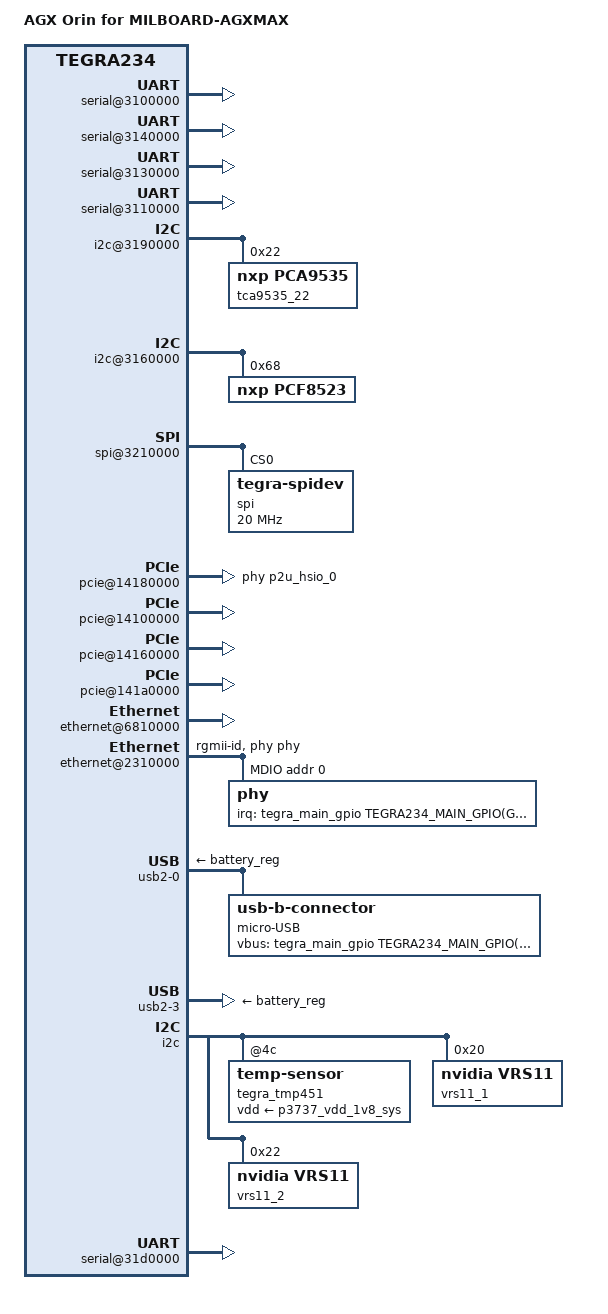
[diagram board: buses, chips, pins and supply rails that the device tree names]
/*
 * Top level DTS file for CVM:P3701-0000 and CVB:MILBOARD-AGXMAX.
 *
 * Copyright (c) 2021-2023, NVIDIA CORPORATION.  All rights reserved.
 *
 * This program is free software; you can redistribute it and/or modify
 * it under the terms of the GNU General Public License as published by
 * the Free Software Foundation; version 2 of the License.
 *
 * This program is distributed in the hope that it will be useful, but WITHOUT
 * ANY WARRANTY; without even the implied warranty of MERCHANTABILITY or
 * FITNESS FOR A PARTICULAR PURPOSE.  See the GNU General Public License for
 * more details.
 */

/dts-v1/;
#include "tegra234-p3701-0000-prod.dtsi"
#include "cvm/tegra234-p3701-0000.dtsi"
#include "cvb/tegra234-p3737-0000-a04-mgbe.dtsi"
#include "tegra234-power-tree-p3701-0000-p3737-0000.dtsi"
#include "tegra234-dcb-p3701-0000-a02-p3737-0000-a01_hdmi.dtsi"
#include <tegra234-soc/mods-simple-bus.dtsi>
//#include "cvb/tegra234-p3737-camera-modules.dtsi"
#include "cvb/tegra234-p3737-0000-camera-expansion-forecr-a00.dtsi"
#include <t234-common-cvb/tegra234-pwm.dtsi>
#include <t234-common-cvm/tegra234-cpuidle.dtsi>
#include <t234-common-cvm/tegra234-thermal.dtsi>
#include <t234-common-cvm/tegra234-thermal-cooling.dtsi>
#include <t234-common-cvm/tegra234-thermal-userspace-alert.dtsi>
#include <tegra234-soc/tegra234-soc-hwpm.dtsi>

/ {
	nvidia,dtsfilename = __FILE__;
	nvidia,dtbbuildtime = __DATE__, __TIME__;
	model = "AGX Orin for MILBOARD-AGXMAX";
	compatible = "nvidia,p3737-0000+p3701-0000", "nvidia,p3701-0000", "nvidia,tegra234", "nvidia,tegra23x";

	aliases {
		rtc2 = "/i2c@3160000/pcf8523@68";
	};

	fixed-regulators {
		p3737_vdd_3v3_pcie: regulator@105 {
			/delete-property/ regulator-boot-on;
			/delete-property/ gpio;
			/delete-property/ enable-active-low;
			regulator-always-on;
		};
		p3737_vdd_12v_pcie: regulator@114 {
			/delete-property/ regulator-boot-on;
			/delete-property/ gpio;
			/delete-property/ enable-active-low;
			regulator-always-on;
		};
	};

	serial@3100000 { // UART1
		status = "okay";
	};

	serial@3140000 { // UART2
		status = "okay";
	};

	serial@3130000 { // UART4
		status = "okay";
	};

	serial@3110000 { // UART5
		status = "okay";
	};

	i2c@c240000 {
		ucsi_ccg@8 {
			status = "disabled";
			connector@0 {
				/delete-node/ port;
			};

			connector@1 {
				/delete-node/ port;
			};
		};
	};

	i2c@3190000 {
		tca9535_22: tca9535@22 {
			compatible = "nxp,pca9535";
			reg = <0x22>;
			gpio-controller;
			#gpio-cells = <2>;
			gpio-line-names = 
			    "SERIAL_CH0.RS485/RS232#",
			    "SERIAL_CH0.TERM",
			    "SERIAL_CH1.RS485/RS232#",
			    "SERIAL_CH1.TERM",
			    "SERIAL_CH2.RS485/RS232#",
			    "SERIAL_CH2.TERM",
			    "SERIAL_CH3.RS485/RS232#",
			    "SERIAL_CH3.TERM",
			    "DIGITAL_IO_CH0",
			    "DIGITAL_IO_CH1",
			    "DIGITAL_IO_CH2",
			    "DIGITAL_IO_CH3",
			    "DIGITAL_IO_CH4",
			    "DIGITAL_IO_CH5",
			    "DIGITAL_IO_CH6",
			    "DIGITAL_IO_CH7";

			/*
			serial_default_config {
				gpio-hog;
				gpios = <0 0 1 0 2 0 3 0 4 0 5 0 6 0 7 0>;
				output-low; // for RS232
				//output-high; // for RS422
			};
			*/
		};
	};

	i2c@3160000 {
		status = "okay";

		// 0x68 - PCF8523 RTC
		pcf8523@68 {
			status = "okay";
			compatible = "nxp,pcf8523";
			reg = <0x68>;
		};

		// 0x56 - EEPROM CAT24C04WI-GT3
		// 0x6B - 2536030320001 6-AXIS IMU & TEMP SENSOR
	};

	spi@3210000 {
		status = "okay";

		spi@0 {
			status = "okay";
			compatible = "tegra-spidev";
			reg = <0x0>;
			spi-max-frequency = <20000000>;

			controller-data {
				nvidia,enable-hw-based-cs;
				nvidia,rx-clk-tap-delay = <0x10>;
				nvidia,tx-clk-tap-delay = <0x0>;
			};
		};
	};

	pcie@14180000 { // PCIe x1 (C0) - Ethernet
		status = "okay";
		phys = <&p2u_hsio_0>;
		phy-names = "p2u-0";
		nvidia,max-speed = <2>; // i210 is GEN2
	};

	pcie@14100000 { // PCIe x1 (C1) - Ethernet
		status = "okay";
		nvidia,max-speed = <2>; // i210 is GEN2
	};

	pcie@14160000 { //* PCIe x4 (C4) - M.2 Key-M
		status = "okay";
	};

	pcie@141a0000 { // PCIe x8 (C5) - M.2 Key-M
		status = "okay";
		/delete-property/ vpcie3v3-supply;
		/delete-property/ vpcie12v-supply;
	};

	/* PCIe x8 (C7) */
	pcie@141e0000 { 
		status = "disabled";
	};

	/* MGBE - A */
	ethernet@6810000 {
		status = "okay";
	};

	ethernet@6910000 {
		status = "disabled";
	};

	ethernet@6A10000 {
		status = "disabled";
	};

	ethernet@6B10000 {
		status = "disabled";
	};

	/* EQOS */
	ethernet@2310000 {
		status = "okay";

		nvidia,mac-addr-idx = <0>;
		nvidia,pause_frames = <1>;
		local-mac-address = [1a 2b 3c 4d 5e 6f];
		nvidia,phy-reset-gpio = <&tegra_main_gpio TEGRA234_MAIN_GPIO(G, 5) 0>;
		phy-mode = "rgmii-id";
		phy-handle = <&phy>;
		nvidia,max-platform-mtu = <16383>; //8000

		mdio {
			compatible = "nvidia,eqos-mdio";
			#address-cells = <1>;
			#size-cells = <0>;

			phy: phy@0 {
				reg = <0>; //<1>;
				nvidia,phy-rst-pdelay-msec = <224>; /* msec */
				nvidia,phy-rst-duration-usec = <10000>; /* usec */
				interrupt-parent = <&tegra_main_gpio>;
				interrupts = <TEGRA234_MAIN_GPIO(G, 4) IRQ_TYPE_LEVEL_LOW>;
				marvell,copper-mode;
				/* Setup LED[2] as interrupt pin (active low) */
				marvell,reg-init = <0x03 0x12 0x7fff 0x880>;
			};
		};
	};

	fixed-regulators {
		regulator@3 {
			regulator-boot-on;
		};
	};

	xusb_padctl@3520000 {
		ports {
			usb2-0 {
				status = "okay";
				vbus-supply = <&battery_reg>;
				mode = "otg";
				usb-role-switch;
				/delete-node/ port;
				connector {
					compatible = "usb-b-connector", "gpio-usb-b-connector";
					label = "micro-USB";
					type = "micro";
					vbus-gpios = <&tegra_main_gpio TEGRA234_MAIN_GPIO(Z, 1) GPIO_ACTIVE_LOW>;
				};
			};
			usb2-3 {
				status = "okay";
				vbus-supply = <&battery_reg>;
				mode = "host";
			};
		};
	};

	xudc@3550000 {
		/delete-property/ charger-detector;
	};

	/delete-node/ tegra_usb_cd;

	nvsciipc-kernel {
		compatible = "nvidia,nvsciipc";
		status = "okay";
	};

	firmware {
		android {
			compatible = "android,firmware";
			first_stage_delay = "1";
			system_root_blkdev = "/dev/mmcblk0p1";
			fstab {
				compatible = "android,fstab";
				vendor {
					compatible = "android,vendor";
					dev = "/dev/block/platform/3460000.sdhci/by-name/vendor";
					type = "ext4";
					mnt_flags = "ro,noatime";
					fsmgr_flags = "wait";
				};
			};
		};
	};

	display@13800000 {
		status = "okay";
	};

	dce@d800000 {
		status = "okay";
	};

	bpmp {
		i2c {
			tegra_tmp451: temp-sensor@4c {
				vdd-supply = <&p3737_vdd_1v8_sys>;

				ext {
					shutdown-limit = <107>;
				};
			};

			vrs11_1@20 {
				compatible = "nvidia,vrs11";
				reg = <0x20>;
				rail-name-loopA = "GPU";
				rail-name-loopB = "CPU";
				status = "okay";
			};

			vrs11_2@22 {
				compatible = "nvidia,vrs11";
				reg = <0x22>;
				rail-name-loopA = "SOC";
				rail-name-loopB = "CV";
				status = "okay";
			};
		};
	};

	reserved-memory {
		linux,cma {
			status = "okay";
		};
	};

	tegra_soc_hwpm {
		status = "okay";
	};

	tegra-hsp@3d00000 {
		status = "okay";
	};

	aon@c000000 {
		status = "okay";
	};

	cpu_alert: cpu-throttle-alert {
		status = "okay";
	};

	gpu_alert: gpu-throttle-alert {
		status = "okay";
	};

	cv0_alert: cv0-throttle-alert {
		status = "okay";
	};

	cv1_alert: cv1-throttle-alert {
		status = "okay";
	};

	cv2_alert: cv2-throttle-alert {
		status = "okay";
	};

	soc0_alert: soc0-throttle-alert {
		status = "okay";
	};

	soc1_alert: soc1-throttle-alert {
		status = "okay";
	};

	soc2_alert: soc2-throttle-alert {
		status = "okay";
	};

	hot_surface_alert: hot-surface-alert {
		status = "okay";
	};

	stm@24080000 {
		status = "disabled";
	};

	cpu0_etm@27040000 {
		status = "disabled";
	};

	cpu1_etm@27140000 {
		status = "disabled";
	};

	cpu2_etm@27240000 {
		status = "disabled";
	};

	cpu3_etm@27340000 {
		status = "disabled";
	};

	cpu4_etm@27440000 {
		status = "disabled";
	};

	cpu5_etm@27540000 {
		status = "disabled";
	};

	cpu6_etm@27640000 {
		status = "disabled";
	};

	cpu7_etm@27740000 {
		status = "disabled";
	};

	cpu8_etm@27840000 {
		status = "disabled";
	};

	cpu9_etm@27940000 {
		status = "disabled";
	};

	cpu10_etm@27A40000 {
		status = "disabled";
	};

	cpu11_etm@27B40000 {
		status = "disabled";
	};

	funnel_ccplex0@26030000 {
		status = "disabled";
	};

	funnel_ccplex1@26040000 {
		status = "disabled";
	};

	funnel_ccplex2@26050000 {
		status = "disabled";
	};

	funnel_top_ccplex@26020000 {
		status = "disabled";
	};

	funnel_major@24040000 {
		status = "disabled";
	};

	replicator@24060000 {
		status = "disabled";
	};

	etf@24050000 {
		status = "disabled";
	};

	etr@24070000 {
		status = "disabled";
	};

	serial@31d0000 {
		status = "okay";
	};
};
